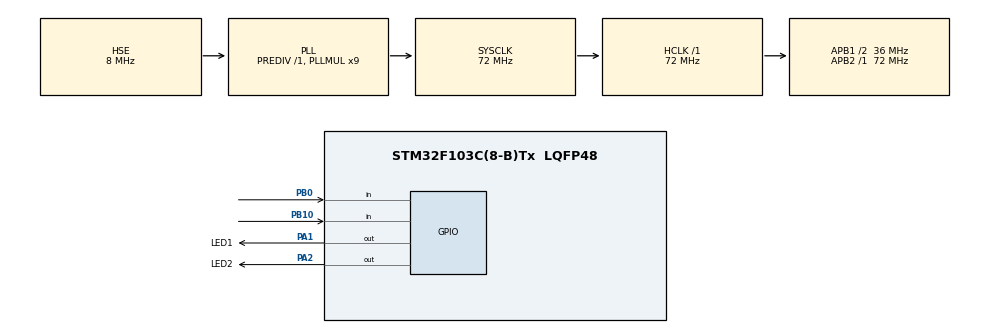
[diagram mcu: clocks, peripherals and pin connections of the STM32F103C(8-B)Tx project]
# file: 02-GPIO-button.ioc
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Mcu.Family=STM32F1
Mcu.Name=STM32F103C(8-B)Tx
Mcu.Package=LQFP48
NVIC.PriorityGroup=NVIC_PRIORITYGROUP_4
PA1.GPIO_Label=LED1
PA1.Signal=GPIO_Output
PA13.Mode=Serial_Wire
PA13.Signal=SYS_JTMS-SWDIO
PA14.Mode=Serial_Wire
PA14.Signal=SYS_JTCK-SWCLK
PA2.GPIO_Label=LED2
PA2.Signal=GPIO_Output
PB0.GPIO_PuPd=GPIO_PULLUP
PB0.Signal=GPIO_Input
PB10.GPIO_PuPd=GPIO_PULLUP
PB10.Signal=GPIO_Input
PC14-OSC32_IN.Mode=LSE-External-Oscillator
PC14-OSC32_IN.Signal=RCC_OSC32_IN
PC15-OSC32_OUT.Mode=LSE-External-Oscillator
PC15-OSC32_OUT.Signal=RCC_OSC32_OUT
PD0-OSC_IN.Mode=HSE-External-Oscillator
PD0-OSC_IN.Signal=RCC_OSC_IN
PD1-OSC_OUT.Mode=HSE-External-Oscillator
PD1-OSC_OUT.Signal=RCC_OSC_OUT
ProjectManager.HeapSize=0x200
ProjectManager.StackSize=0x400
ProjectManager.TargetToolchain=MDK-ARM V5.32
RCC.AHBFreq_Value=72000000
RCC.APB1CLKDivider=RCC_HCLK_DIV2
RCC.APB1Freq_Value=36000000
RCC.APB1TimFreq_Value=72000000
RCC.APB2Freq_Value=72000000
RCC.APB2TimFreq_Value=72000000
RCC.HCLKFreq_Value=72000000
RCC.PLLMUL=RCC_PLL_MUL9
RCC.PLLSourceVirtual=RCC_PLLSOURCE_HSE
RCC.SYSCLKFreq_VALUE=72000000
RCC.SYSCLKSource=RCC_SYSCLKSOURCE_PLLCLK
RCC.USBFreq_Value=72000000
board=custom

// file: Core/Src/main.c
/* USER CODE BEGIN Header */
/**
  ******************************************************************************
  * @file           : main.c
  * @brief          : Main program body
  ******************************************************************************
  * @attention
  *
  * Copyright (c) 2026 STMicroelectronics.
  * All rights reserved.
  *
  * This software is licensed under terms that can be found in the LICENSE file
  * in the root directory of this software component.
  * If no LICENSE file comes with this software, it is provided AS-IS.
  *
  ******************************************************************************
  */
/* USER CODE END Header */
#include "main.h"
#include "gpio.h"

/* USER CODE BEGIN PV */
uint8_t keynum = 0;
/* USER CODE END PV */

void SystemClock_Config(void);

/* USER CODE BEGIN 0 */
/**
  * @brief  读按键，返回 0=没按 / 1=KEY1 被按 / 2=KEY2 被按
  * @note   轮询 + 延时消抖。松手才返回，所以按住不放只会算一次。
  *         缺点：等松手的 while 是阻塞的，按住不放会卡住主循环。
  */
uint8_t Key_getnum(void)
{
	if (HAL_GPIO_ReadPin(KEY1_GPIO_Port, KEY1_Pin) == GPIO_PIN_RESET)
	{
		HAL_Delay(20);                                              /* 越过抖动区 */
		if (HAL_GPIO_ReadPin(KEY1_GPIO_Port, KEY1_Pin) == GPIO_PIN_RESET)   /* 二次确认 */
		{
			while (HAL_GPIO_ReadPin(KEY1_GPIO_Port, KEY1_Pin) == GPIO_PIN_RESET);  /* 等松手 */
			return 1;
		}
	}
	else if (HAL_GPIO_ReadPin(KEY2_GPIO_Port, KEY2_Pin) == GPIO_PIN_RESET)
	{
		HAL_Delay(20);
		if (HAL_GPIO_ReadPin(KEY2_GPIO_Port, KEY2_Pin) == GPIO_PIN_RESET)
		{
			while (HAL_GPIO_ReadPin(KEY2_GPIO_Port, KEY2_Pin) == GPIO_PIN_RESET);
			return 2;
		}
	}
	return 0;
}

/* HAL 已经提供了 HAL_GPIO_TogglePin()（内部：读一次 ODR → 一次写 BSRR），
   不需要自己写"读 + 判断 + 写"。这两个薄封装只是让主循环读起来更清楚。 */
void LED1_toggle(void)
{
	HAL_GPIO_TogglePin(LED1_GPIO_Port, LED1_Pin);
}

void LED2_toggle(void)
{
	HAL_GPIO_TogglePin(LED2_GPIO_Port, LED2_Pin);
}

/* USER CODE END 0 */

int main(void)
{

  /* MCU Configuration--------------------------------------------------------*/

  /* Reset of all peripherals, Initializes the Flash interface and the Systick. */
  HAL_Init();

  /* Configure the system clock */
  SystemClock_Config();

  /* Initialize all configured peripherals */
  MX_GPIO_Init();

  /* Infinite loop */
  /* USER CODE BEGIN WHILE */
  while (1)
  {
    keynum = Key_getnum();

    if (keynum == 1)
    {
      LED1_toggle();
    }
    else if (keynum == 2)
    {
      LED2_toggle();
    }

    /* USER CODE END WHILE */

  }
}

void SystemClock_Config(void)
{
  RCC_OscInitTypeDef RCC_OscInitStruct = {0};
  RCC_ClkInitTypeDef RCC_ClkInitStruct = {0};

  /** Initializes the RCC Oscillators according to the specified parameters
  * in the RCC_OscInitTypeDef structure.
  */
  RCC_OscInitStruct.OscillatorType = RCC_OSCILLATORTYPE_HSE;
  RCC_OscInitStruct.HSEState = RCC_HSE_ON;
  RCC_OscInitStruct.HSEPredivValue = RCC_HSE_PREDIV_DIV1;
  RCC_OscInitStruct.HSIState = RCC_HSI_ON;
  RCC_OscInitStruct.PLL.PLLState = RCC_PLL_ON;
  RCC_OscInitStruct.PLL.PLLSource = RCC_PLLSOURCE_HSE;
  RCC_OscInitStruct.PLL.PLLMUL = RCC_PLL_MUL9;
  if (HAL_RCC_OscConfig(&RCC_OscInitStruct) != HAL_OK)
  {
    Error_Handler();
  }

  /** Initializes the CPU, AHB and APB buses clocks
  */
  RCC_ClkInitStruct.ClockType = RCC_CLOCKTYPE_HCLK|RCC_CLOCKTYPE_SYSCLK
                              |RCC_CLOCKTYPE_PCLK1|RCC_CLOCKTYPE_PCLK2;
  RCC_ClkInitStruct.SYSCLKSource = RCC_SYSCLKSOURCE_PLLCLK;
  RCC_ClkInitStruct.AHBCLKDivider = RCC_SYSCLK_DIV1;
  RCC_ClkInitStruct.APB1CLKDivider = RCC_HCLK_DIV2;
  RCC_ClkInitStruct.APB2CLKDivider = RCC_HCLK_DIV1;

  if (HAL_RCC_ClockConfig(&RCC_ClkInitStruct, FLASH_LATENCY_2) != HAL_OK)
  {
    Error_Handler();
  }
}

void Error_Handler(void)
{
  __disable_irq();
  while (1)
  {
  }
}
